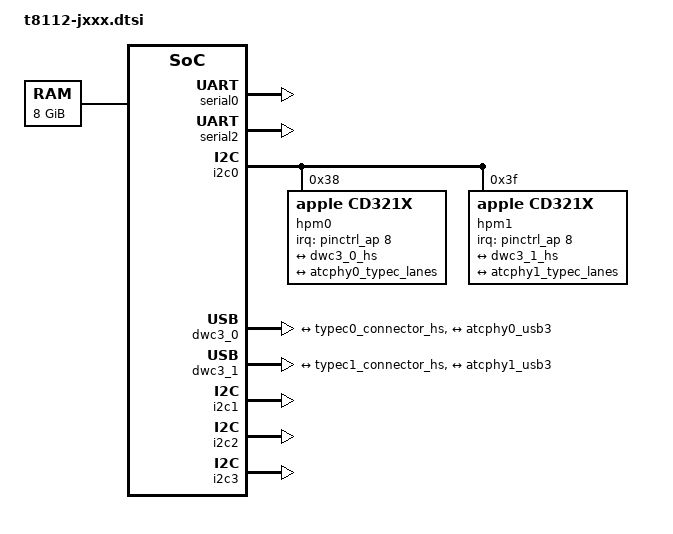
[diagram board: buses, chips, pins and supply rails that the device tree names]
// SPDX-License-Identifier: GPL-2.0+ OR MIT
/*
 * Apple M2 MacBook Air/Pro (M2, 2022)
 *
 * This file contains parts common to all Apple M2 devices using the t8112.
 *
 * target-type: J493, J413
 *
 * Copyright The Asahi Linux Contributors
 */

/ {
	aliases {
		atcphy0 = &atcphy0;
		atcphy1 = &atcphy1;
		serial0 = &serial0;
		serial2 = &serial2;
	};

	chosen {
		#address-cells = <2>;
		#size-cells = <2>;
		ranges;

		stdout-path = "serial0";

		framebuffer0: framebuffer@0 {
			compatible = "apple,simple-framebuffer", "simple-framebuffer";
			reg = <0 0 0 0>; /* To be filled by loader */
			/* Format properties will be added by loader */
			status = "disabled";
		};
	};

	memory@800000000 {
		device_type = "memory";
		reg = <0x8 0 0x2 0>; /* To be filled by loader */
	};
};

&serial0 {
	status = "okay";
};

&serial2 {
	status = "okay";
};

&i2c0 {
	status = "okay";

	hpm0: usb-pd@38 {
		compatible = "apple,cd321x";
		reg = <0x38>;
		interrupt-parent = <&pinctrl_ap>;
		interrupts = <8 IRQ_TYPE_LEVEL_LOW>;
		interrupt-names = "irq";

		typec0: connector {
			compatible = "usb-c-connector";
			power-role = "dual";
			data-role = "dual";

			ports {
				#address-cells = <1>;
				#size-cells = <0>;
				port@0 {
					reg = <0>;
					typec0_connector_hs: endpoint {
						remote-endpoint = <&dwc3_0_hs>;
					};
				};
				port@1 {
					reg = <1>;
					typec0_connector_ss: endpoint {
						remote-endpoint = <&atcphy0_typec_lanes>;
					};
				};
			};
		};
	};

	hpm1: usb-pd@3f {
		compatible = "apple,cd321x";
		reg = <0x3f>;
		interrupt-parent = <&pinctrl_ap>;
		interrupts = <8 IRQ_TYPE_LEVEL_LOW>;
		interrupt-names = "irq";

		typec1: connector {
			compatible = "usb-c-connector";
			power-role = "dual";
			data-role = "dual";

			ports {
				#address-cells = <1>;
				#size-cells = <0>;
				port@0 {
					reg = <0>;
					typec1_connector_hs: endpoint {
						remote-endpoint = <&dwc3_1_hs>;
					};
				};
				port@1 {
					reg = <1>;
					typec1_connector_ss: endpoint {
						remote-endpoint = <&atcphy1_typec_lanes>;
					};
				};
			};
		};
	};
};

/* USB controllers */
&dwc3_0 {
	ports {
		#address-cells = <1>;
		#size-cells = <0>;

		port@0 {
			reg = <0>;
			dwc3_0_hs: endpoint {
				remote-endpoint = <&typec0_connector_hs>;
			};
		};

		port@1 {
			reg = <1>;
			dwc3_0_ss: endpoint {
				remote-endpoint = <&atcphy0_usb3>;
			};
		};
	};
};

&dwc3_1 {
	ports {
		#address-cells = <1>;
		#size-cells = <0>;

		port@0 {
			reg = <0>;
			dwc3_1_hs: endpoint {
				remote-endpoint = <&typec1_connector_hs>;
			};
		};

		port@1 {
			reg = <1>;
			dwc3_1_ss: endpoint {
				remote-endpoint = <&atcphy1_usb3>;
			};
		};
	};
};

/* Type-C PHYs */
&atcphy0 {
	ports {
		#address-cells = <1>;
		#size-cells = <0>;

		port@0 {
			reg = <0>;
			atcphy0_typec_lanes: endpoint {
				remote-endpoint = <&typec0_connector_ss>;
			};
		};

		port@1 {
			reg = <1>;
			atcphy0_usb3: endpoint {
				remote-endpoint = <&dwc3_0_ss>;
			};
		};
	};
};

&atcphy1 {
	ports {
		#address-cells = <1>;
		#size-cells = <0>;

		port@0 {
			reg = <0>;
			atcphy1_typec_lanes: endpoint {
				remote-endpoint = <&typec1_connector_ss>;
			};
		};

		port@1 {
			reg = <1>;
			atcphy1_usb3: endpoint {
				remote-endpoint = <&dwc3_1_ss>;
			};
		};
	};
};

&i2c1 {
	status = "okay";
};

&i2c2 {
	status = "okay";
};

&i2c3 {
	status = "okay";
};

&nco_clkref {
	clock-frequency = <900000000>;
};

#include "spi1-nvram.dtsi"
